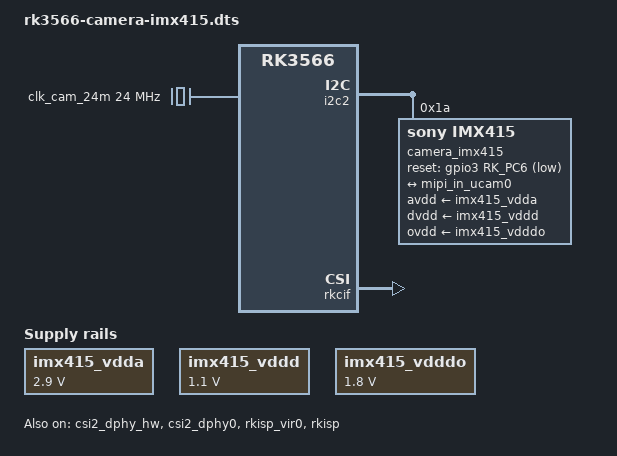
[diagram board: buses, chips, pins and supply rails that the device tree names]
/*
 * Device tree overlay for IMX415 (4K Camera) on RK3566
 *
 * Sony IMX415 - 8.3MP MIPI CSI-2 sensor with 4K UHD support
 * Diagonal 6.4mm (Type 1/2.8) CMOS image sensor
 * Commonly used in security cameras and drones
 *
 * Compatible with Radxa Zero 3W and similar RK3566-based boards
 * Uses I2C2 and CSI2 DPHY0 in full mode (2 lanes)
 *
 * Copyright (c) 2024 MYSh LLC
 */
/dts-v1/;
/plugin/;

#include "dt-bindings.h"

/ {
	compatible = "rockchip,rk3566";

	metadata {
		title = "IMX415 Camera (8MP 4K UHD)";
		category = "camera";
		exclusive = "csi2_dphy0";
		description = "Enable Sony IMX415 8MP 4K UHD camera sensor on CSI2 DPHY0";
	};
};

&{/} {
	clk_cam_24m: external-camera-clock-24m {
		status = "okay";
		compatible = "fixed-clock";
		clock-frequency = <24000000>;
		clock-output-names = "clk_cam_24m";
		#clock-cells = <0>;
	};

	imx415_vdda: imx415-vdda {
		status = "okay";
		compatible = "regulator-fixed";
		regulator-name = "imx415_vdda";
		regulator-min-microvolt = <2900000>;
		regulator-max-microvolt = <2900000>;
		regulator-always-on;
		regulator-boot-on;
	};

	imx415_vddd: imx415-vddd {
		status = "okay";
		compatible = "regulator-fixed";
		regulator-name = "imx415_vddd";
		regulator-min-microvolt = <1100000>;
		regulator-max-microvolt = <1100000>;
		regulator-always-on;
		regulator-boot-on;
	};

	imx415_vdddo: imx415-vdddo {
		status = "okay";
		compatible = "regulator-fixed";
		regulator-name = "imx415_vdddo";
		regulator-min-microvolt = <1800000>;
		regulator-max-microvolt = <1800000>;
		regulator-always-on;
		regulator-boot-on;
	};
};

&i2c2 {
	status = "okay";
	pinctrl-names = "default";
	pinctrl-0 = <&i2c2m1_xfer>;
	#address-cells = <1>;
	#size-cells = <0>;

	camera_imx415: camera-imx415@1a {
		status = "okay";
		compatible = "sony,imx415";
		reg = <0x1a>;
		clocks = <&clk_cam_24m>;
		clock-names = "xclk";

		avdd-supply = <&imx415_vdda>;
		dvdd-supply = <&imx415_vddd>;
		ovdd-supply = <&imx415_vdddo>;

		reset-gpios = <&gpio3 RK_PC6 GPIO_ACTIVE_LOW>;

		rockchip,camera-module-index = <0>;
		rockchip,camera-module-facing = "back";
		rockchip,camera-module-name = "imx415";
		rockchip,camera-module-lens-name = "default";

		port {
			imx415_out: endpoint {
				remote-endpoint = <&mipi_in_ucam0>;
				data-lanes = <1 2>;
				link-frequencies = /bits/ 64 <445500000>;
			};
		};
	};
};

&csi2_dphy_hw {
	status = "okay";
};

&csi2_dphy0 {
	status = "okay";

	ports {
		#address-cells = <1>;
		#size-cells = <0>;

		port@0 {
			reg = <0>;
			#address-cells = <1>;
			#size-cells = <0>;

			mipi_in_ucam0: endpoint@1 {
				reg = <1>;
				remote-endpoint = <&imx415_out>;
				data-lanes = <1 2>;
			};
		};

		port@1 {
			reg = <1>;
			#address-cells = <1>;
			#size-cells = <0>;

			dphy0_out: endpoint@1 {
				reg = <1>;
				remote-endpoint = <&isp0_in>;
			};
		};
	};
};

&rkisp_vir0 {
	status = "okay";

	port {
		#address-cells = <1>;
		#size-cells = <0>;

		isp0_in: endpoint@0 {
			reg = <0>;
			remote-endpoint = <&dphy0_out>;
		};
	};
};

&rkisp {
	status = "okay";
};

&rkisp_mmu {
	status = "okay";
};

&rkcif_mmu {
	status = "okay";
};

&rkcif {
	status = "okay";
};
